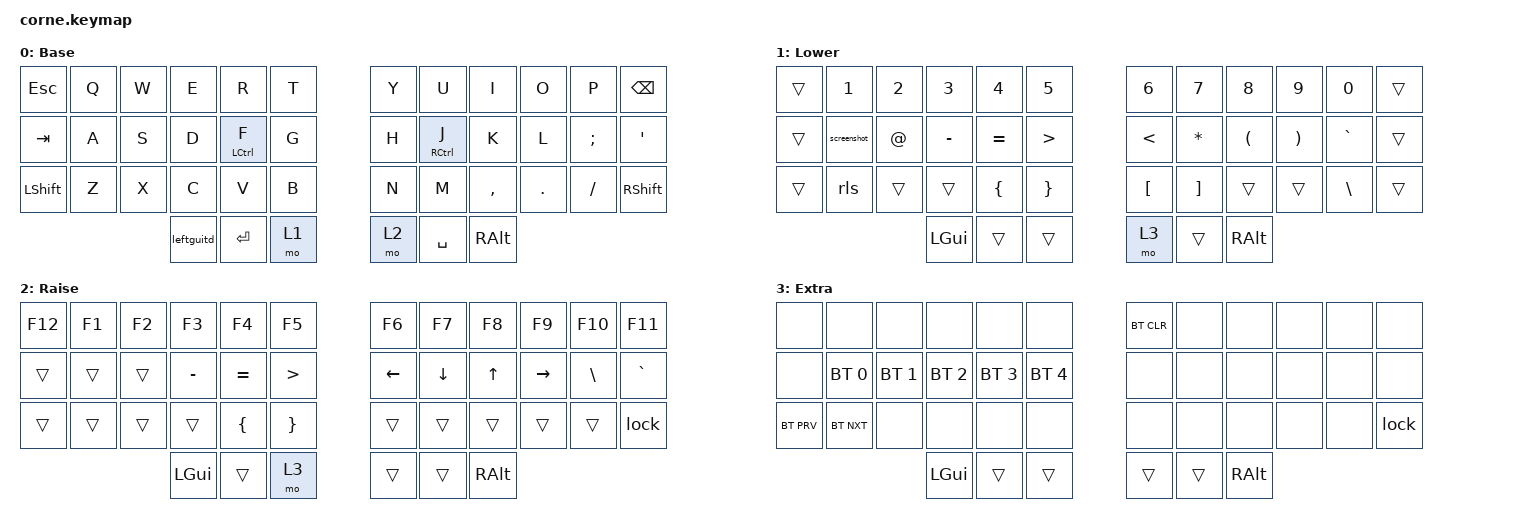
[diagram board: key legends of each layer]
/*
 * Copyright (c) 2020 The ZMK Contributors
 *
 * SPDX-License-Identifier: MIT
 */

#include <behaviors.dtsi>
#include <dt-bindings/zmk/bt.h>
#include <dt-bindings/zmk/keys.h>

&mt {
    tapping-term-ms = <160>;
    flavor = "balanced";
    retro-tap;
};

/ {
    macros {
        lock: lock {
            compatible = "zmk,behavior-macro";
            #binding-cells = <0>;
            bindings = <&kp LC(LG(Q))>;
            label = "LOCK";
        };

        rls: als {
            compatible = "zmk,behavior-macro";
            #binding-cells = <0>;
            bindings = <&kp N1 &kp N2 &kp N3 &kp N4 &kp N5 &kp N6 &kp N7 &kp N8>;
            label = "ALS";
        };

        screenshot: screenshot {
            compatible = "zmk,behavior-macro";
            #binding-cells = <0>;
            bindings = <&kp LG(LS(NUMBER_4))>;
            label = "SCREENSHOT";
        };

        tmux: tmux {
            compatible = "zmk,behavior-macro";
            #binding-cells = <0>;
            bindings = <&kp LC(SPACE)>;
            label = "TMUX";
        };
    };

    combos {
        compatible = "zmk,combos";

        tmux {
            bindings = <&tmux>;
            key-positions = <0 12>;
        };
    };

    behaviors {
        leftguitd: leftguitd {
            compatible = "zmk,behavior-tap-dance";
            label = "LEFTGUITD";
            #binding-cells = <0>;
            bindings = <&kp LGUI>, <&kp LEFT_ALT>;

            tapping-term-ms = <100>;
        };
    };

    keymap {
        compatible = "zmk,keymap";

        default_layer {
            // -----------------------------------------------------------------------------------------
            // |  TAB |  Q  |  W  |  E  |  R  |  T  |   |  Y  |  U   |  I  |  O  |  P  | BKSP |
            // | CTRL |  A  |  S  |  D  |  F  |  G  |   |  H  |  J   |  K  |  L  |  ;  |  '   |
            // | SHFT |  Z  |  X  |  C  |  V  |  B  |   |  N  |  M   |  ,  |  .  |  /  | ESC  |
            //                    | GUI | LWR | SPC |   | ENT | RSE  | ALT |

            display-name = "Base";
            bindings = <
&kp ESCAPE  &kp Q  &kp W  &kp E       &kp R               &kp T    &kp Y  &kp U                &kp I      &kp O    &kp P     &kp BSPC
&kp TAB     &kp A  &kp S  &kp D       &mt LEFT_CONTROL F  &kp G    &kp H  &mt RIGHT_CONTROL J  &kp K      &kp L    &kp SEMI  &kp SQT
&kp LSHFT   &kp Z  &kp X  &kp C       &kp V               &kp B    &kp N  &kp M                &kp COMMA  &kp DOT  &kp FSLH  &kp RIGHT_SHIFT
                          &leftguitd  &kp ENTER           &mo 1    &mo 2  &kp SPACE            &kp RALT
            >;
        };

        lower_layer {
            // -----------------------------------------------------------------------------------------
            // |  TAB |  1  |  2  |  3  |  4  |  5  |   |  6  |  7  |  8  |  9  |  0  | BKSP |
            // | BTCLR| BT1 | BT2 | BT3 | BT4 | BT5 |   | LFT | DWN |  UP | RGT |     |      |
            // | SHFT |     |     |     |     |     |   |     |     |     |     |     |      |
            //                    | GUI |     | SPC |   | ENT |     | ALT |

            display-name = "Lower";
            bindings = <
&trans  &kp N1       &kp N2  &kp N3     &kp N4          &kp N5              &kp N6            &kp N7             &kp N8                &kp N9                 &kp N0         &trans
&trans  &screenshot  &kp AT  &kp MINUS  &kp EQUAL       &kp GREATER_THAN    &kp LESS_THAN     &kp STAR           &kp LEFT_PARENTHESIS  &kp RIGHT_PARENTHESIS  &kp GRAVE      &trans
&trans  &rls         &trans  &trans     &kp LEFT_BRACE  &kp RIGHT_BRACE     &kp LEFT_BRACKET  &kp RIGHT_BRACKET  &trans                &trans                 &kp BACKSLASH  &trans
                             &kp LGUI   &trans          &trans              &mo 3             &trans             &kp RALT
            >;
        };

        raise_layer {
            // -----------------------------------------------------------------------------------------
            // |  TAB |  !  |  @  |  #  |  $  |  %  |   |  ^  |  &  |  *  |  (  |  )  | BKSP |
            // | CTRL |     |     |     |     |     |   |  -  |  =  |  [  |  ]  |  \  |  `   |
            // | SHFT |     |     |     |     |     |   |  _  |  +  |  {  |  }  | "|" |  ~   |
            //                    | GUI |     | SPC |   | ENT |     | ALT |

            display-name = "Raise";
            bindings = <
&kp F12  &kp F1  &kp F2  &kp F3     &kp F4          &kp F5              &kp F6    &kp F7    &kp F8        &kp F9     &kp F10   &kp F11
&trans   &trans  &trans  &kp MINUS  &kp EQUAL       &kp GREATER_THAN    &kp LEFT  &kp DOWN  &kp UP_ARROW  &kp RIGHT  &kp BSLH  &kp GRAVE
&trans   &trans  &trans  &trans     &kp LEFT_BRACE  &kp RIGHT_BRACE     &trans    &trans    &trans        &trans     &trans    &lock
                         &kp LGUI   &trans          &mo 3               &trans    &trans    &kp RALT
            >;
        };

        extra_1 {
            // -----------------------------------------------------------------------------------------
            // |  TAB |  !  |  @  |  #  |  $  |  %  |   |  ^  |  &  |  *  |  (  |  )  | BKSP |
            // | CTRL |     |     |     |     |     |   |  -  |  =  |  [  |  ]  |  \  |  `   |
            // | SHFT |     |     |     |     |     |   |  _  |  +  |  {  |  }  | "|" |  ~   |
            //                    | GUI |     | SPC |   | ENT |     | ALT |

            display-name = "Extra";
            bindings = <
&none       &none         &none         &none         &none         &none           &bt BT_CLR  &none   &none     &none  &none  &none
&none       &bt BT_SEL 0  &bt BT_SEL 1  &bt BT_SEL 2  &bt BT_SEL 3  &bt BT_SEL 4    &none       &none   &none     &none  &none  &none
&bt BT_PRV  &bt BT_NXT    &none         &none         &none         &none           &none       &none   &none     &none  &none  &lock
                                        &kp LGUI      &trans        &trans          &trans      &trans  &kp RALT
            >;

            label = "Extra";
        };

        extra_2 { status = "reserved"; };

        extra_3 { status = "reserved"; };
    };
};
